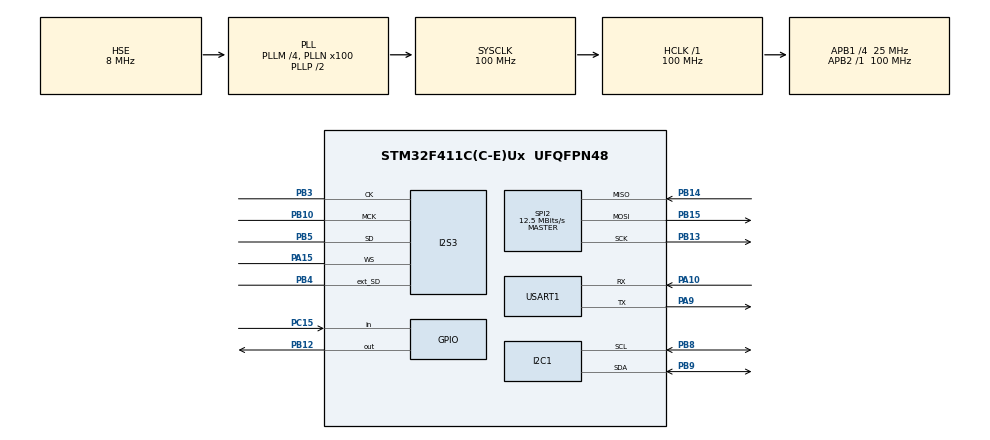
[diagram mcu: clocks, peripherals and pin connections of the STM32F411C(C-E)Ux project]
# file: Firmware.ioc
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Dma.I2S3_EXT_RX.2.Direction=DMA_PERIPH_TO_MEMORY
Dma.I2S3_EXT_RX.2.FIFOMode=DMA_FIFOMODE_DISABLE
Dma.I2S3_EXT_RX.2.Instance=DMA1_Stream0
Dma.I2S3_EXT_RX.2.MemDataAlignment=DMA_MDATAALIGN_HALFWORD
Dma.I2S3_EXT_RX.2.MemInc=DMA_MINC_ENABLE
Dma.I2S3_EXT_RX.2.Mode=DMA_CIRCULAR
Dma.I2S3_EXT_RX.2.PeriphDataAlignment=DMA_PDATAALIGN_HALFWORD
Dma.I2S3_EXT_RX.2.PeriphInc=DMA_PINC_DISABLE
Dma.I2S3_EXT_RX.2.Priority=DMA_PRIORITY_LOW
Dma.Request0=USART1_TX
Dma.Request1=USART1_RX
Dma.Request2=I2S3_EXT_RX
Dma.Request3=SPI3_TX
Dma.SPI3_TX.3.Direction=DMA_MEMORY_TO_PERIPH
Dma.SPI3_TX.3.FIFOMode=DMA_FIFOMODE_DISABLE
Dma.SPI3_TX.3.Instance=DMA1_Stream7
Dma.SPI3_TX.3.MemDataAlignment=DMA_MDATAALIGN_HALFWORD
Dma.SPI3_TX.3.MemInc=DMA_MINC_ENABLE
Dma.SPI3_TX.3.Mode=DMA_CIRCULAR
Dma.SPI3_TX.3.PeriphDataAlignment=DMA_PDATAALIGN_HALFWORD
Dma.SPI3_TX.3.PeriphInc=DMA_PINC_DISABLE
Dma.SPI3_TX.3.Priority=DMA_PRIORITY_LOW
Dma.USART1_RX.1.Direction=DMA_PERIPH_TO_MEMORY
Dma.USART1_RX.1.FIFOMode=DMA_FIFOMODE_DISABLE
Dma.USART1_RX.1.Instance=DMA2_Stream2
Dma.USART1_RX.1.MemDataAlignment=DMA_MDATAALIGN_BYTE
Dma.USART1_RX.1.MemInc=DMA_MINC_ENABLE
Dma.USART1_RX.1.Mode=DMA_CIRCULAR
Dma.USART1_RX.1.PeriphDataAlignment=DMA_PDATAALIGN_BYTE
Dma.USART1_RX.1.PeriphInc=DMA_PINC_DISABLE
Dma.USART1_RX.1.Priority=DMA_PRIORITY_LOW
Dma.USART1_TX.0.Direction=DMA_MEMORY_TO_PERIPH
Dma.USART1_TX.0.FIFOMode=DMA_FIFOMODE_DISABLE
Dma.USART1_TX.0.Instance=DMA2_Stream7
Dma.USART1_TX.0.MemDataAlignment=DMA_MDATAALIGN_BYTE
Dma.USART1_TX.0.MemInc=DMA_MINC_ENABLE
Dma.USART1_TX.0.Mode=DMA_NORMAL
Dma.USART1_TX.0.PeriphDataAlignment=DMA_PDATAALIGN_BYTE
Dma.USART1_TX.0.PeriphInc=DMA_PINC_DISABLE
Dma.USART1_TX.0.Priority=DMA_PRIORITY_LOW
FREERTOS.Tasks01=defaultTask,-3,128,StartDefaultTask,Default;myTask02,0,256,SysTask,Default
I2S3.AudioFreq=I2S_AUDIOFREQ_192K
I2S3.ErrorAudioFreq=-2.34 %
I2S3.FullDuplexMode=I2S_FULLDUPLEXMODE_ENABLE
I2S3.RealAudioFreq=187.5 KHz
Mcu.Family=STM32F4
Mcu.Name=STM32F411C(C-E)Ux
Mcu.Package=UFQFPN48
NVIC.DMA1_Stream0_IRQn=true\:5\:0\:false\:false\:true\:true
NVIC.DMA1_Stream7_IRQn=true\:5\:0\:false\:false\:true\:true
NVIC.DMA2_Stream2_IRQn=true\:5\:0\:false\:false\:true\:true
NVIC.DMA2_Stream7_IRQn=true\:5\:0\:false\:false\:true\:true
NVIC.PriorityGroup=NVIC_PRIORITYGROUP_4
PA10.Mode=Asynchronous
PA10.Signal=USART1_RX
PA13.Mode=Serial_Wire
PA13.Signal=SYS_JTMS-SWDIO
PA14.Mode=Serial_Wire
PA14.Signal=SYS_JTCK-SWCLK
PA15.GPIO_Speed=GPIO_SPEED_FREQ_HIGH
PA15.Mode=Full_Duplex_Master
PA15.Signal=I2S3_WS
PA9.Mode=Asynchronous
PA9.Signal=USART1_TX
PB10.GPIO_Speed=GPIO_SPEED_FREQ_HIGH
PB10.Mode=Master_Clock_Activated
PB10.Signal=I2S3_MCK
PB12.Signal=GPIO_Output
PB13.Mode=Full_Duplex_Master
PB13.Signal=SPI2_SCK
PB14.Mode=Full_Duplex_Master
PB14.Signal=SPI2_MISO
PB15.Mode=Full_Duplex_Master
PB15.Signal=SPI2_MOSI
PB3.GPIO_Speed=GPIO_SPEED_FREQ_HIGH
PB3.Mode=Full_Duplex_Master
PB3.Signal=I2S3_CK
PB4.GPIO_Speed=GPIO_SPEED_FREQ_HIGH
PB4.Mode=Full_Duplex_Master
PB4.Signal=I2S3_ext_SD
PB5.GPIO_Speed=GPIO_SPEED_FREQ_HIGH
PB5.Mode=Full_Duplex_Master
PB5.Signal=I2S3_SD
PB8.Mode=I2C
PB8.Signal=I2C1_SCL
PB9.Mode=I2C
PB9.Signal=I2C1_SDA
PC15-OSC32_OUT.Signal=GPIO_Input
PH0\ -\ OSC_IN.Mode=HSE-External-Oscillator
PH0\ -\ OSC_IN.Signal=RCC_OSC_IN
PH1\ -\ OSC_OUT.Mode=HSE-External-Oscillator
PH1\ -\ OSC_OUT.Signal=RCC_OSC_OUT
ProjectManager.HeapSize=0x200
ProjectManager.StackSize=0x400
ProjectManager.TargetToolchain=MDK-ARM V5
RCC.48MHZClocksFreq_Value=50000000
RCC.AHBFreq_Value=100000000
RCC.APB1CLKDivider=RCC_HCLK_DIV4
RCC.APB1Freq_Value=25000000
RCC.APB1TimFreq_Value=50000000
RCC.APB2Freq_Value=100000000
RCC.APB2TimFreq_Value=100000000
RCC.CortexFreq_Value=100000000
RCC.HCLKFreq_Value=100000000
RCC.HSE_VALUE=8000000
RCC.HSI_VALUE=16000000
RCC.LSE_VALUE=32768
RCC.PLLI2SM=4
RCC.PLLM=4
RCC.PLLN=100
RCC.PLLSourceVirtual=RCC_PLLSOURCE_HSE
RCC.SYSCLKFreq_VALUE=100000000
RCC.SYSCLKSource=RCC_SYSCLKSOURCE_PLLCLK
RCC.VCOOutputFreq_Value=200000000
SPI2.CalculateBaudRate=12.5 MBits/s
SPI2.Mode=SPI_MODE_MASTER
VP_FREERTOS_VS_ENABLE.Mode=Enabled
board=Firmware

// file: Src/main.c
/**
  ******************************************************************************
  * File Name          : main.c
  * Description        : Main program body
  ******************************************************************************
  *
  * COPYRIGHT(c) 2016 STMicroelectronics
  *
  * Redistribution and use in source and binary forms, with or without modification,
  * are permitted provided that the following conditions are met:
  *   1. Redistributions of source code must retain the above copyright notice,
  *      this list of conditions and the following disclaimer.
  *   2. Redistributions in binary form must reproduce the above copyright notice,
  *      this list of conditions and the following disclaimer in the documentation
  *      and/or other materials provided with the distribution.
  *   3. Neither the name of STMicroelectronics nor the names of its contributors
  *      may be used to endorse or promote products derived from this software
  *      without specific prior written permission.
  *
  * THIS SOFTWARE IS PROVIDED BY THE COPYRIGHT HOLDERS AND CONTRIBUTORS "AS IS"
  * AND ANY EXPRESS OR IMPLIED WARRANTIES, INCLUDING, BUT NOT LIMITED TO, THE
  * IMPLIED WARRANTIES OF MERCHANTABILITY AND FITNESS FOR A PARTICULAR PURPOSE ARE
  * DISCLAIMED. IN NO EVENT SHALL THE COPYRIGHT HOLDER OR CONTRIBUTORS BE LIABLE
  * FOR ANY DIRECT, INDIRECT, INCIDENTAL, SPECIAL, EXEMPLARY, OR CONSEQUENTIAL
  * DAMAGES (INCLUDING, BUT NOT LIMITED TO, PROCUREMENT OF SUBSTITUTE GOODS OR
  * SERVICES; LOSS OF USE, DATA, OR PROFITS; OR BUSINESS INTERRUPTION) HOWEVER
  * CAUSED AND ON ANY THEORY OF LIABILITY, WHETHER IN CONTRACT, STRICT LIABILITY,
  * OR TORT (INCLUDING NEGLIGENCE OR OTHERWISE) ARISING IN ANY WAY OUT OF THE USE
  * OF THIS SOFTWARE, EVEN IF ADVISED OF THE POSSIBILITY OF SUCH DAMAGE.
  *
  ******************************************************************************
  */
#include "stm32f4xx_hal.h"
#include "cmsis_os.h"

/* USER CODE BEGIN Includes */
#include "BSP.h"
#include "math.h"
#include "arm_math.h"
#include "stdarg.h"
/* USER CODE END Includes */

I2C_HandleTypeDef hi2c1;

I2S_HandleTypeDef hi2s3;
DMA_HandleTypeDef hdma_i2s3_ext_rx;
DMA_HandleTypeDef hdma_spi3_tx;

SPI_HandleTypeDef hspi2;

UART_HandleTypeDef huart1;
DMA_HandleTypeDef hdma_usart1_tx;
DMA_HandleTypeDef hdma_usart1_rx;

osThreadId defaultTaskHandle;
osThreadId myTask02Handle;

/* USER CODE BEGIN PV */
/* Private variables ---------------------------------------------------------*/
extern float32_t iir1buf[4][1024];
extern float32_t iir2buf[4][32];
extern float32_t freq;

float32_t ans[8];
uint8_t uarttxbuf[512];
uint8_t uartrxbuf[128];
uint8_t uartfifo[512];
/* USER CODE END PV */

void SystemClock_Config(void);
void Error_Handler(void);
static void MX_GPIO_Init(void);
static void MX_DMA_Init(void);
static void MX_I2C1_Init(void);
static void MX_I2S3_Init(void);
static void MX_SPI2_Init(void);
static void MX_USART1_UART_Init(void);
void StartDefaultTask(void const * argument);
void SysTask(void const * argument);

/* USER CODE BEGIN PFP */
/* Private function prototypes -----------------------------------------------*/
extern void DSP_Filter_Init(void);
/* USER CODE END PFP */

/* USER CODE BEGIN 0 */
void print(const char * format,...)
{
  static uint16_t i = 0;
  uint16_t n;
  va_list args;

  if(!hdma_usart1_tx.Instance->NDTR)
    i = 0;

  va_start(args,format);
  n = vsnprintf((char*)uarttxbuf+i, 512-i, format, args);
  va_end(args);
  i = (i+n)&0x1ff;

  HAL_DMA_Abort(&hdma_usart1_tx);
  huart1.gState = HAL_UART_STATE_READY;
  n += hdma_usart1_tx.Instance->NDTR;
  HAL_UART_Transmit_DMA(&huart1, (uint8_t*)uarttxbuf+i-n , n);
}
/* USER CODE END 0 */

int main(void)
{

  /* MCU Configuration----------------------------------------------------------*/

  /* Reset of all peripherals, Initializes the Flash interface and the Systick. */
  HAL_Init();

  /* Configure the system clock */
  SystemClock_Config();

  /* Initialize all configured peripherals */
  MX_GPIO_Init();
  MX_DMA_Init();
  MX_I2C1_Init();
  MX_I2S3_Init();
  MX_SPI2_Init();
  MX_USART1_UART_Init();

  /* USER CODE BEGIN 2 */
  DSP_Filter_Init();
  BSP_CODEC_Init();
  BSP_CODEC_Start();
  /* USER CODE END 2 */

  /* Create the thread(s) */
  /* definition and creation of defaultTask */
  osThreadDef(defaultTask, StartDefaultTask, osPriorityIdle, 0, 128);
  defaultTaskHandle = osThreadCreate(osThread(defaultTask), NULL);

  /* definition and creation of myTask02 */
  osThreadDef(myTask02, SysTask, osPriorityNormal, 0, 256);
  myTask02Handle = osThreadCreate(osThread(myTask02), NULL);

  /* Start scheduler */
  osKernelStart();

  /* We should never get here as control is now taken by the scheduler */

  /* Infinite loop */
  while (1)
  {

  }

}

/** System Clock Configuration
*/
void SystemClock_Config(void)
{

  RCC_OscInitTypeDef RCC_OscInitStruct;
  RCC_ClkInitTypeDef RCC_ClkInitStruct;
  RCC_PeriphCLKInitTypeDef PeriphClkInitStruct;

  __HAL_RCC_PWR_CLK_ENABLE();

  __HAL_PWR_VOLTAGESCALING_CONFIG(PWR_REGULATOR_VOLTAGE_SCALE1);

  RCC_OscInitStruct.OscillatorType = RCC_OSCILLATORTYPE_HSE;
  RCC_OscInitStruct.HSEState = RCC_HSE_ON;
  RCC_OscInitStruct.PLL.PLLState = RCC_PLL_ON;
  RCC_OscInitStruct.PLL.PLLSource = RCC_PLLSOURCE_HSE;
  RCC_OscInitStruct.PLL.PLLM = 4;
  RCC_OscInitStruct.PLL.PLLN = 100;
  RCC_OscInitStruct.PLL.PLLP = RCC_PLLP_DIV2;
  RCC_OscInitStruct.PLL.PLLQ = 4;
  if (HAL_RCC_OscConfig(&RCC_OscInitStruct) != HAL_OK)
  {
    Error_Handler();
  }

  RCC_ClkInitStruct.ClockType = RCC_CLOCKTYPE_HCLK|RCC_CLOCKTYPE_SYSCLK
                              |RCC_CLOCKTYPE_PCLK1|RCC_CLOCKTYPE_PCLK2;
  RCC_ClkInitStruct.SYSCLKSource = RCC_SYSCLKSOURCE_PLLCLK;
  RCC_ClkInitStruct.AHBCLKDivider = RCC_SYSCLK_DIV1;
  RCC_ClkInitStruct.APB1CLKDivider = RCC_HCLK_DIV4;
  RCC_ClkInitStruct.APB2CLKDivider = RCC_HCLK_DIV1;
  if (HAL_RCC_ClockConfig(&RCC_ClkInitStruct, FLASH_LATENCY_3) != HAL_OK)
  {
    Error_Handler();
  }

  PeriphClkInitStruct.PeriphClockSelection = RCC_PERIPHCLK_I2S;
  PeriphClkInitStruct.PLLI2S.PLLI2SN = 192;
  PeriphClkInitStruct.PLLI2S.PLLI2SM = 4;
  PeriphClkInitStruct.PLLI2S.PLLI2SR = 2;
  if (HAL_RCCEx_PeriphCLKConfig(&PeriphClkInitStruct) != HAL_OK)
  {
    Error_Handler();
  }

  HAL_SYSTICK_Config(HAL_RCC_GetHCLKFreq()/1000);

  HAL_SYSTICK_CLKSourceConfig(SYSTICK_CLKSOURCE_HCLK);

  /* SysTick_IRQn interrupt configuration */
  HAL_NVIC_SetPriority(SysTick_IRQn, 15, 0);
}

/* I2C1 init function */
static void MX_I2C1_Init(void)
{

  hi2c1.Instance = I2C1;
  hi2c1.Init.ClockSpeed = 100000;
  hi2c1.Init.DutyCycle = I2C_DUTYCYCLE_2;
  hi2c1.Init.OwnAddress1 = 0;
  hi2c1.Init.AddressingMode = I2C_ADDRESSINGMODE_7BIT;
  hi2c1.Init.DualAddressMode = I2C_DUALADDRESS_DISABLE;
  hi2c1.Init.OwnAddress2 = 0;
  hi2c1.Init.GeneralCallMode = I2C_GENERALCALL_DISABLE;
  hi2c1.Init.NoStretchMode = I2C_NOSTRETCH_DISABLE;
  if (HAL_I2C_Init(&hi2c1) != HAL_OK)
  {
    Error_Handler();
  }

}

/* I2S3 init function */
static void MX_I2S3_Init(void)
{

  hi2s3.Instance = SPI3;
  hi2s3.Init.Mode = I2S_MODE_MASTER_TX;
  hi2s3.Init.Standard = I2S_STANDARD_PHILIPS;
  hi2s3.Init.DataFormat = I2S_DATAFORMAT_16B;
  hi2s3.Init.MCLKOutput = I2S_MCLKOUTPUT_ENABLE;
  hi2s3.Init.AudioFreq = I2S_AUDIOFREQ_192K;
  hi2s3.Init.CPOL = I2S_CPOL_LOW;
  hi2s3.Init.ClockSource = I2S_CLOCK_PLL;
  hi2s3.Init.FullDuplexMode = I2S_FULLDUPLEXMODE_ENABLE;
  if (HAL_I2S_Init(&hi2s3) != HAL_OK)
  {
    Error_Handler();
  }

}

/* SPI2 init function */
static void MX_SPI2_Init(void)
{

  hspi2.Instance = SPI2;
  hspi2.Init.Mode = SPI_MODE_MASTER;
  hspi2.Init.Direction = SPI_DIRECTION_2LINES;
  hspi2.Init.DataSize = SPI_DATASIZE_8BIT;
  hspi2.Init.CLKPolarity = SPI_POLARITY_LOW;
  hspi2.Init.CLKPhase = SPI_PHASE_1EDGE;
  hspi2.Init.NSS = SPI_NSS_SOFT;
  hspi2.Init.BaudRatePrescaler = SPI_BAUDRATEPRESCALER_2;
  hspi2.Init.FirstBit = SPI_FIRSTBIT_MSB;
  hspi2.Init.TIMode = SPI_TIMODE_DISABLE;
  hspi2.Init.CRCCalculation = SPI_CRCCALCULATION_DISABLE;
  hspi2.Init.CRCPolynomial = 10;
  if (HAL_SPI_Init(&hspi2) != HAL_OK)
  {
    Error_Handler();
  }

}

/* USART1 init function */
static void MX_USART1_UART_Init(void)
{

  huart1.Instance = USART1;
  huart1.Init.BaudRate = 115200;
  huart1.Init.WordLength = UART_WORDLENGTH_8B;
  huart1.Init.StopBits = UART_STOPBITS_1;
  huart1.Init.Parity = UART_PARITY_NONE;
  huart1.Init.Mode = UART_MODE_TX_RX;
  huart1.Init.HwFlowCtl = UART_HWCONTROL_NONE;
  huart1.Init.OverSampling = UART_OVERSAMPLING_16;
  if (HAL_UART_Init(&huart1) != HAL_OK)
  {
    Error_Handler();
  }

}

static void MX_DMA_Init(void)
{
  /* DMA controller clock enable */
  __HAL_RCC_DMA2_CLK_ENABLE();
  __HAL_RCC_DMA1_CLK_ENABLE();

  /* DMA interrupt init */
  /* DMA1_Stream0_IRQn interrupt configuration */
  HAL_NVIC_SetPriority(DMA1_Stream0_IRQn, 5, 0);
  HAL_NVIC_EnableIRQ(DMA1_Stream0_IRQn);
  /* DMA1_Stream7_IRQn interrupt configuration */
  HAL_NVIC_SetPriority(DMA1_Stream7_IRQn, 5, 0);
  HAL_NVIC_EnableIRQ(DMA1_Stream7_IRQn);
  /* DMA2_Stream2_IRQn interrupt configuration */
  HAL_NVIC_SetPriority(DMA2_Stream2_IRQn, 5, 0);
  HAL_NVIC_EnableIRQ(DMA2_Stream2_IRQn);
  /* DMA2_Stream7_IRQn interrupt configuration */
  HAL_NVIC_SetPriority(DMA2_Stream7_IRQn, 5, 0);
  HAL_NVIC_EnableIRQ(DMA2_Stream7_IRQn);

}

/** Configure pins as
        * Analog
        * Input
        * Output
        * EVENT_OUT
        * EXTI
*/
static void MX_GPIO_Init(void)
{

  GPIO_InitTypeDef GPIO_InitStruct;

  /* GPIO Ports Clock Enable */
  __HAL_RCC_GPIOC_CLK_ENABLE();
  __HAL_RCC_GPIOH_CLK_ENABLE();
  __HAL_RCC_GPIOB_CLK_ENABLE();
  __HAL_RCC_GPIOA_CLK_ENABLE();

  /*Configure GPIO pin : PC15 */
  GPIO_InitStruct.Pin = GPIO_PIN_15;
  GPIO_InitStruct.Mode = GPIO_MODE_INPUT;
  GPIO_InitStruct.Pull = GPIO_NOPULL;
  HAL_GPIO_Init(GPIOC, &GPIO_InitStruct);

  /*Configure GPIO pin : PB12 */
  GPIO_InitStruct.Pin = GPIO_PIN_12;
  GPIO_InitStruct.Mode = GPIO_MODE_OUTPUT_PP;
  GPIO_InitStruct.Pull = GPIO_NOPULL;
  GPIO_InitStruct.Speed = GPIO_SPEED_FREQ_LOW;
  HAL_GPIO_Init(GPIOB, &GPIO_InitStruct);

  /*Configure GPIO pin Output Level */
  HAL_GPIO_WritePin(GPIOB, GPIO_PIN_12, GPIO_PIN_RESET);

}

/* StartDefaultTask function */
void StartDefaultTask(void const * argument)
{

  /* USER CODE BEGIN 5 */

  /* Infinite loop */
  for(;;)
  {
//    y1i =  iir2buf[0][0];  y1q =  iir2buf[1][0];  // a+bi
//    y2i = -iir2buf[2][0];  y2q = -iir2buf[3][0];  // c+di
//    ans[0] = (y1i*y2i + y1q*y2q) / (y2i*y2i + y2q*y2q);
//    ans[1] = (y1q*y2i - y1i*y2q) / (y2i*y2i + y2q*y2q);
    osDelay(10);
  }
  /* USER CODE END 5 */
}

/* SysTask function */
void SysTask(void const * argument)
{
  /* USER CODE BEGIN SysTask */
  uint16_t n,tmp,pt=0;
  uint16_t i=128;

  HAL_UART_Receive_DMA(&huart1, (uint8_t *)uartrxbuf, 128);
  HAL_UART_Transmit_DMA(&huart1, (uint8_t *)uarttxbuf, 0);

  print("ZLCR rev.b Copyright(c)yitiandelan.\n");
  print("hash:6f4e6a3900d9f60e78fcd47e7c67518d3497f7b7\n");
  /* Infinite loop */
  for(;;)
  {
    n = huart1.hdmarx->Instance->NDTR;
    if(n < i)
    {
      memcpy(uartfifo+pt, uartrxbuf+128-i, i-n);
      pt += i-n;
      pt &= 0xff;
      i = n;

      for(tmp=0;tmp<=pt;tmp++)
        if(uartfifo[tmp] == '\n')
        {
          if(!strncmp((char*)uartfifo, "reboot\n", 7))
            HAL_NVIC_SystemReset();

          if(!strncmp((char*)uartfifo, "freq\n", 5))
            print("%f Hz\n", freq);

          if(!strncmp((char*)uartfifo, "info\n", 5))
            print("ZLCR rev.b Copyright(c)yitiandelan.\n");

          if(!strncmp((char*)uartfifo, "zlcr\n", 5))
            for(; huart1.hdmarx->Instance->NDTR == i; print("{\"FREQ\":%e,\"MAG\":%e,\"PHASE\":%e}\n", freq, ans[2], ans[3]))
              osDelay(10);
          else if(!strncmp((char*)uartfifo, "zlcr -f ", 8))
            if(sscanf((char*)uartfifo+8, "%f", &freq))
              for(BSP_Setfreq(freq); huart1.hdmarx->Instance->NDTR == i; print("{\"FREQ\":%e,\"MAG\":%e,\"PHASE\":%e}\n", freq, ans[2], ans[3]))
                osDelay(10);

          if(!strncmp((char*)uartfifo, "zlcr -raw\n", 10))
            for(; huart1.hdmarx->Instance->NDTR == i; print("{\"FREQ\":%e,\"a\":%e,\"b\":%e,\"c\":%e,\"d\":%e}\n", freq, ans[4], ans[5], ans[6], ans[7]))
              osDelay(10);
          else if(!strncmp((char*)uartfifo, "zlcr -raw -f ", 13))
            if(sscanf((char*)uartfifo+13, "%f", &freq))
              for(BSP_Setfreq(freq); huart1.hdmarx->Instance->NDTR == i; print("{\"FREQ\":%e,\"a\":%e,\"b\":%e,\"c\":%e,\"d\":%e}\n", freq, ans[4], ans[5], ans[6], ans[7]))
                osDelay(10);

          pt = 0;
          break;
        }
    }
    else if(n > i)
    {
      memcpy(uartfifo+pt, uartrxbuf+128-i, i);
      pt += i;
      pt &= 0xff;
      i = 128;
    }
    else
      osDelay(1);
  }
  /* USER CODE END SysTask */
}

void Error_Handler(void)
{
  while(1)
  {
  }
}

/************************ (C) COPYRIGHT STMicroelectronics *****END OF FILE****/
